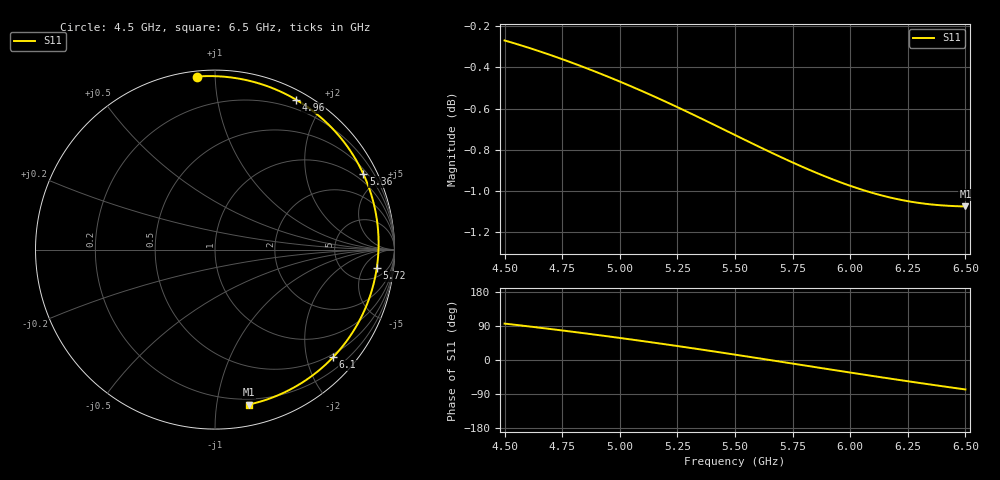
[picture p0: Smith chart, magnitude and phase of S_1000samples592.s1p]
! TOUCHSTONE file generated by CST MICROWAVE STUDIO
! Date and time: Fri Oct 28 17:13:30 2022
! Project name: L.cst
! Parameters = {Di=1.27; Epsilon_r=1.56; InnerDiameter=1.27; Length=2; Lf=10; Lg=60; OuterConductorThickness=0.2921; OuterDiameter=3.6; Wf=3; Wp=41.2; de=1.5; df=6.8; g=0.8; gx=4.48271; gy=3.53251; h=2.34; hf=1.524; px=8.23497; py=9.20951; w=9.7; wx=3.75226; wy=5.677}
! Header version: 2018
! Port assignment regex: !\s*Touchstone port\s*([0-9]+)\s*=\s*(CST MWS port|CST DS port)\s*([0-9]+|Zmin|Zmax)\s*\(\"(.*)\"\)(\s*mode\s*([0-9]+))?.*
! Touchstone port assignment:
! Touchstone port 1 = CST MWS port 1 ("")
# GHz S DB R 50
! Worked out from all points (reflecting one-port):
!   101 points, 4.5 GHz to 6.5 GHz, reference 50 ohm
!   lowest |S11| = -1.1 dB at 6.5 GHz (marker M1), VSWR 16.16, Z = 7.81 - j61.5 ohm
!   phase of S11 starts at 96 deg and turns -174 deg over the sweep
!   S11 on the Smith chart (normalised r, x): 4.5 GHz: 0.03, +0.90; 4.96 GHz: 0.10, +1.68; 5.36 GHz: 0.67, +4.06; 5.72 GHz: 9, -10; 6.1 GHz: 0.43, -2.51; 6.5 GHz: 0.16, -1.23
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4.5  -0.27 96.1
4.58  -0.30 90.4
4.64  -0.32 86.1
4.76  -0.36 77.2
4.86  -0.41 69.4
4.96  -0.45 61.5
5  -0.47 58.2
5.12  -0.53 48.2
5.18  -0.56 43.0
5.26  -0.60 36.0
5.36  -0.65 27.0
5.44  -0.70 19.7
5.5  -0.73 14.1
5.56  -0.76 8.5
5.62  -0.79 2.9
5.72  -0.85 -6.6
5.76  -0.87 -10.4
5.82  -0.90 -16.1
5.88  -0.92 -21.8
5.94  -0.95 -27.4
6  -0.98 -33.1
6.1  -1.01 -42.4
6.18  -1.03 -49.7
6.26  -1.05 -56.9
6.32  -1.06 -62.3
6.38  -1.07 -67.5
6.44  -1.07 -72.7
6.5  -1.08 -77.7
